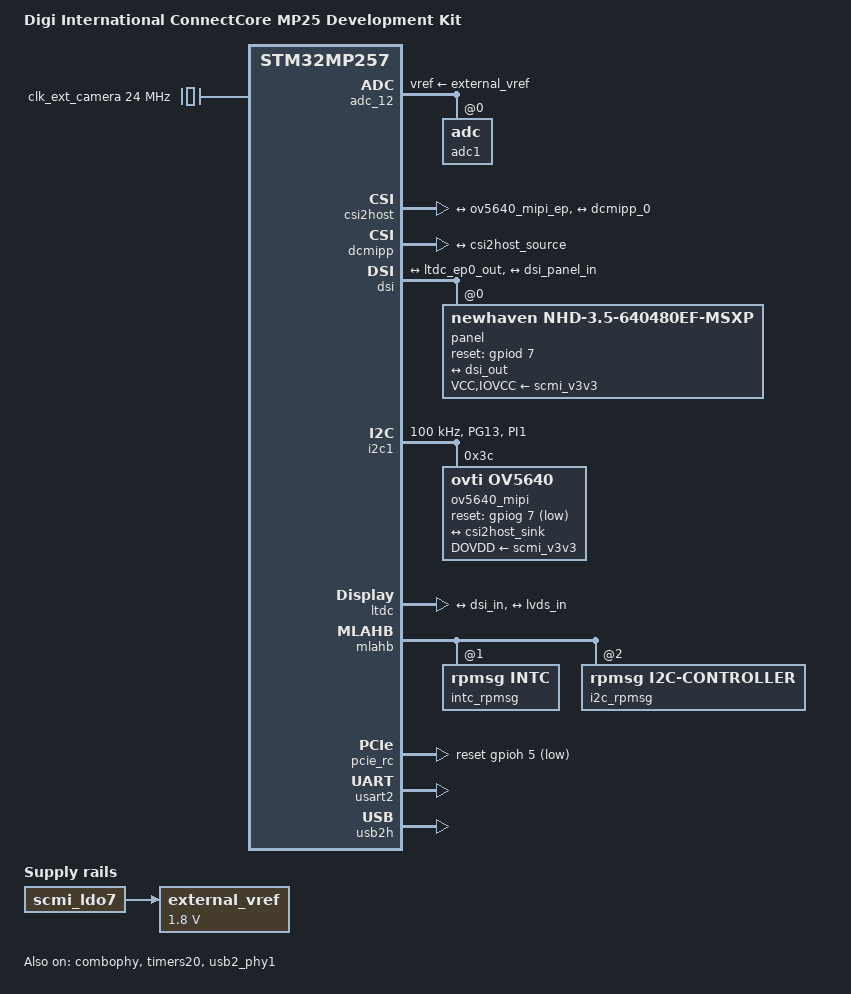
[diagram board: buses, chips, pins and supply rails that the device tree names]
// SPDX-License-Identifier: (GPL-2.0-or-later OR BSD-3-Clause)
/*
 * Copyright (C) 2024, Digi International Inc.
 *
 * Permission to use, copy, modify, and/or distribute this software for any
 * purpose with or without fee is hereby granted, provided that the above
 * copyright notice and this permission notice appear in all copies.
 * THE SOFTWARE IS PROVIDED "AS IS" AND THE AUTHOR DISCLAIMS ALL WARRANTIES
 * WITH REGARD TO THIS SOFTWARE INCLUDING ALL IMPLIED WARRANTIES OF
 * MERCHANTABILITY AND FITNESS. IN NO EVENT SHALL THE AUTHOR BE LIABLE FOR
 * ANY SPECIAL, DIRECT, INDIRECT, OR CONSEQUENTIAL DAMAGES OR ANY DAMAGES
 * WHATSOEVER RESULTING FROM LOSS OF USE, DATA OR PROFITS, WHETHER IN AN
 * ACTION OF CONTRACT, NEGLIGENCE OR OTHER TORTIOUS ACTION, ARISING OUT OF
 * OR IN CONNECTION WITH THE USE OR PERFORMANCE OF THIS SOFTWARE.
 */

/dts-v1/;

/* STM32MP25 CPU */
#include "../st/stm32mp257.dtsi"
#include "../st/stm32mp25xf.dtsi"
#include "../st/stm32mp25-pinctrl.dtsi"
#include "../st/stm32mp25xxai-pinctrl.dtsi"
/* Digi ConnectCore MP25 (SOM) */
#include "ccmp25.dtsi"

#include <dt-bindings/gpio/gpio.h>
#include <dt-bindings/input/input.h>
#include <dt-bindings/leds/common.h>
#include <dt-bindings/regulator/st,stm32mp25-regulator.h>
#include "dt-bindings/pwm/pwm.h"

/ {
	model = "Digi International ConnectCore MP25 Development Kit";
	compatible = "digi,ccmp25-dvk", "digi,ccmp25", "st,stm32mp257";
	digi,machine,name = "ccmp257-dvk";

	aliases {
		ethernet0 = &eth2;
		ethernet1 = &eth1;
		serial2 = &uart5; /* Console M33 / XBEE */
		serial3 = &usart6; /* Connector J41 */
		serial4 = &uart7; /* MikroBus UART */
	};

	chosen {
		stdout-path = "serial0:115200n8";
	};

	clocks {
		clk_ext_camera: clk-ext-camera {
			#clock-cells = <0>;
			compatible = "fixed-clock";
			clock-frequency = <24000000>;
		};

		pad_clk: pad-clk {
			#clock-cells = <0>;
			compatible = "fixed-clock";
			clock-frequency = <100000000>;
		};
	};

	panel_lvds: panel-lvds {
		compatible = "auo,g101evn010", "panel-lvds";
		backlight = <&panel_lvds_gpio_backlight>;
		status = "disabled";

		width-mm = <216>;
		height-mm = <135>;
		data-mapping = "jeida-24";

		panel-timing {
			clock-frequency = <54000000>;
			hactive = <1280>;
			vactive = <800>;
			hfront-porch = <82>;
			hback-porch = <84>;
			hsync-len = <2>;
			vfront-porch = <8>;
			vback-porch = <6>;
			vsync-len = <2>;
		};

		port {
			lvds_panel_in: endpoint {
				remote-endpoint = <&lvds_out0>;
			};
		};
	};

	panel_lvds_gpio_backlight: panel-lvds-gpio-backlight {
		compatible = "gpio-backlight";
		gpios = <&gpiob 0 GPIO_ACTIVE_HIGH>; /* LVDS_BCKL_PWM */
		default-on;
		default-brightness-level = <0>;
		status = "disabled";
	};

	regulators {
		compatible = "simple-bus";
		#address-cells = <1>;
		#size-cells = <0>;

		external_vref: regulator-board@1 {
			reg = <1>;
			compatible = "regulator-fixed";
			regulator-name = "external-vref";
			regulator-min-microvolt = <1800000>;
			regulator-max-microvolt = <1800000>;
			status = "okay";
			vin-supply = <&scmi_ldo7>; /* ANA_REF */
		};
	};
};

/*
 * Internal VREFBUF is not supported yet. VREF+ is connected internally to 1V8
 * to use like an external voltage reference. If you plan to use an external
 * voltage reference, depopulate internal SOM resistor connected to VREF+.
 */
&adc_12 {
	vref-supply = <&external_vref>;
	vdda-supply = <&scmi_vdda18adc>;
	status = "okay";

	adc1: adc@0 {
		status = "okay";

		channel@0 {
			reg = <0>;
			/* 16.5 ck_cycles sampling time */
			st,min-sample-time-ns = <400>;
		};

		channel@1 {
			reg = <1>;
			/* 16.5 ck_cycles sampling time */
			st,min-sample-time-ns = <400>;
		};
	};
};

&combophy {
	clocks = <&rcc CK_BUS_USB3PCIEPHY>, <&rcc CK_KER_USB3PCIEPHY>, <&pad_clk>;
	clock-names = "apb-clk", "ker-clk", "pad-clk";
	status = "okay";
};

&csi2host {
	status = "okay";
	ports {
		#address-cells = <1>;
		#size-cells = <0>;
		port@0 {
			reg = <0>;
			csi2host_sink: endpoint {
				remote-endpoint = <&ov5640_mipi_ep>;
				data-lanes = <0 1>;
				bus-type = <4>;
			};
		};
		port@1 {
			reg = <1>;
			csi2host_source: endpoint {
				remote-endpoint = <&dcmipp_0>;
			};
		};
	};
};

&dcmipp {
	status = "okay";
	port {
		dcmipp_0: endpoint {
			remote-endpoint = <&csi2host_source>;
			bus-type = <4>;
		};
	};
};

&dsi {
	#address-cells = <1>;
	#size-cells = <0>;
	status = "okay";

	ports {
		#address-cells = <1>;
		#size-cells = <0>;

		port@0 {
			reg = <0>;
			dsi_in: endpoint {
				remote-endpoint = <&ltdc_ep0_out>;
			};
		};

		port@1 {
			reg = <1>;
			dsi_out: endpoint {
				remote-endpoint = <&dsi_panel_in>;
			};
		};
	};

	panel@0 {
		compatible = "newhaven,nhd-3.5-640480ef-msxp";
		reg = <0>;
		VCC-supply = <&scmi_v3v3>;
		IOVCC-supply = <&scmi_v3v3>;
		reset-gpios = <&gpiod 7 GPIO_ACTIVE_HIGH>;
		dsi-lanes = <4>;
		status = "okay";

		port {
			dsi_panel_in: endpoint {
				remote-endpoint = <&dsi_out>;
			};
		};
	};
};

/* Peripheral I2C bus (J18 Connector) */
&i2c1 {
	pinctrl-names = "default", "sleep";
	pinctrl-0 = <&ccmp25_i2c1_pins>;
	pinctrl-1 = <&ccmp25_i2c1_sleep_pins>;
	i2c-scl-rising-time-ns = <185>;
	i2c-scl-falling-time-ns = <20>;
	clock-frequency = <100000>;
	status = "okay";
	/* spare dmas for other usage */
	/delete-property/dmas;
	/delete-property/dma-names;

	/* MIPI-CSI camera */
	ov5640_mipi: ov5640_mipi@3c {
		compatible = "ovti,ov5640";
		reg = <0x3c>;
		clocks = <&clk_ext_camera>;
		clock-names = "xclk";
		csi_id = <0>;
		DOVDD-supply = <&scmi_v3v3>;
		reset-gpios = <&gpiog 7 (GPIO_ACTIVE_LOW | GPIO_PUSH_PULL)>; /* CSI_RESET */
		status = "okay";

		port {
			ov5640_mipi_ep: endpoint {
				remote-endpoint = <&csi2host_sink>;
				clock-lanes = <0>;
				data-lanes = <1 2>;
				link-frequencies = /bits/ 64 <594000000>;
			};
		};
	};
};

&ltdc {
	rotation-memory = <&ltdc_sec_rotation>;
	status = "okay";

	port {
		#address-cells = <1>;
		#size-cells = <0>;

		ltdc_ep0_out: endpoint@0 {
			reg = <0>;
			remote-endpoint = <&dsi_in>;
		};

		ltdc_ep1_out: endpoint@1 {
			reg = <1>;
			remote-endpoint = <&lvds_in>;
		};
	};
};

&lvds {
	status = "disabled";

	ports {
		#address-cells = <1>;
		#size-cells = <0>;

		port@0 {
			reg = <0>;
			lvds_in: endpoint {
				remote-endpoint = <&ltdc_ep1_out>;
			};
		};

		port@1 {
			reg = <1>;
			lvds_out0: endpoint {
				remote-endpoint = <&lvds_panel_in>;
			};
		};
	};
};

&mlahb {
	intc_rpmsg: interrupt-controller@1 {
		compatible = "rpmsg,intc";
		reg = <1 0>;
		#interrupt-cells = <1>;
		interrupt-controller;
	};

	i2c_rpmsg: i2c@2 {
		compatible = "rpmsg,i2c-controller";
		reg = <2 0>;
		rpmsg,dev-id = "rpmsg_i2c";
		#address-cells = <1>;
		#size-cells = <0>;
		status = "okay";
	};
};

/* PCIe conflicts with USB 3.0 */
&pcie_ep {
	reset-gpios = <&gpioh 5 GPIO_ACTIVE_LOW>;
	status = "disabled";
	/* DIGI - Not supported by ST driver */
	/*disable-gpio = <&gpioh 4 GPIO_ACTIVE_LOW>;*/
	/*wake-gpio = <&gpioa 1 GPIO_ACTIVE_LOW>;*/
};

&pcie_rc {
	reset-gpios = <&gpioh 5 GPIO_ACTIVE_LOW>;
	vdd3v3-supply = <&scmi_v3v3>;
	vdd1v5-supply = <&scmi_ldo6>;
	status = "okay";
	/* DIGI - Not supported by ST driver */
	/*disable-gpio = <&gpioh 4 GPIO_ACTIVE_LOW>;*/
	/*wake-gpio = <&gpioa 1 GPIO_ACTIVE_LOW>;*/
};

&timers20 {
	/delete-property/dmas;
	/delete-property/dma-names;
	status = "okay";
	timer@19 {
		status = "okay";
	};
};

/* Console A35 */
&usart2 {
	pinctrl-names = "default", "idle", "sleep";
	pinctrl-0 = <&usart2_pins_a>;
	pinctrl-1 = <&usart2_idle_pins_a>;
	pinctrl-2 = <&usart2_sleep_pins_a>;
	/delete-property/dmas;
	/delete-property/dma-names;
	status = "okay";
};

/* USB 2.0 Host */
&usb2_phy1 {
	status = "okay";
};

&usb2h {
	status = "okay";

	usb2h_ohci: usb@482e0000 {
		status = "disabled";
	};
};

&pinctrl {
	ccmp25_i2c1_pins: ccmp25-i2c1-0 {
		pins {
			pinmux = <STM32_PINMUX('G', 13, AF9)>, /* I2C1_SCL */
				 <STM32_PINMUX('I', 1, AF9)>; /* I2C1_SDA */
			bias-disable;
			drive-open-drain;
			slew-rate = <0>;
		};
	};

	ccmp25_i2c1_sleep_pins: ccmp25-i2c1-sleep-0 {
		pins {
			pinmux = <STM32_PINMUX('G', 13, ANALOG)>, /* I2C1_SCL */
				 <STM32_PINMUX('I', 1, ANALOG)>; /* I2C1_SDA */
		};
	};
};
